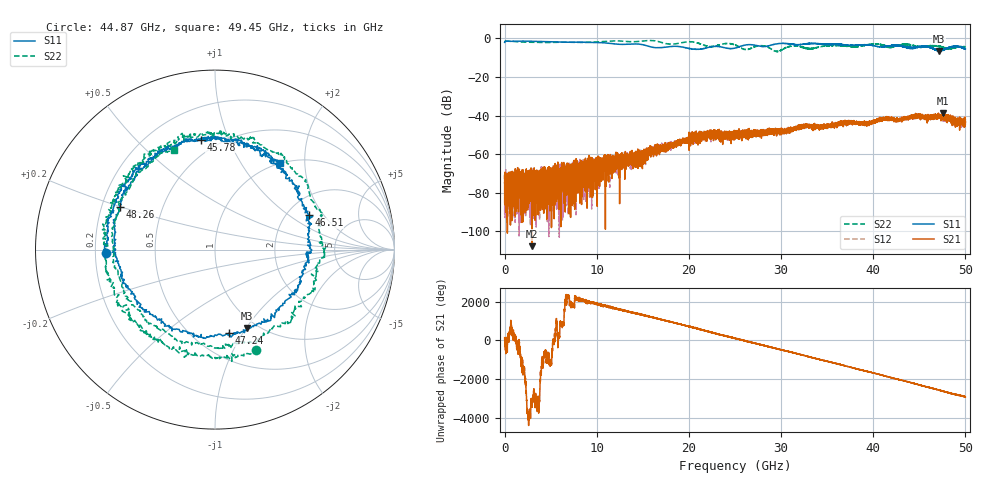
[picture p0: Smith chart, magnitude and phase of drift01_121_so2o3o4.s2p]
!Created with skrf (http://scikit-rf.org).
# Hz S RI R 50.0
!freq ReS11 ImS11 ReS21 ImS21 ReS12 ImS12 ReS22 ImS22
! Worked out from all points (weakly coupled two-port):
!   10001 points, 300 kHz to 50 GHz, reference 50 ohm
!   highest |S21| = -38.57 dB at 47.57 GHz (marker M1); lowest = -107.7 dB at 2.955 GHz (marker M2)
!   lowest |S11| = -6.5 dB at 47.15 GHz (marker M3), VSWR 2.78, Z = 44.8 - j50.3 ohm
!   |S11| at or under -10 dB: nowhere
!   |S22| runs from -6.8 to -1.0 dB; largest |S21 - S12| = 0.0038
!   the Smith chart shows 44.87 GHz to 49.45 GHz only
!   S11 on the Smith chart (normalised r, x): 44.87 GHz: 0.24, -0.01; 45.78 GHz: 0.40, +0.79; 46.51 GHz: 2.60, +1.45; 47.24 GHz: 0.73, -0.87; 48.26 GHz: 0.28, +0.20; 49.45 GHz: 0.99, +1.50
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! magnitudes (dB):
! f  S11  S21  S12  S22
! 300 kHz  -2.1  -71.5  -71.2  -1.3
! 445.3 MHz  -1.4  -74.9  -69.9  -1.4
! 2.955 GHz  -1.5  -107.7  -75.8  -2.0
! 4.725 GHz  -1.6  -77.3  -75.5  -2.1
! 8.335 GHz  -1.9  -76.7  -76.0  -2.1
! 16.67 GHz  -4.8  -56.6  -55.4  -1.6
! 21.84 GHz  -5.0  -49.0  -50.3  -3.7
! 25 GHz  -5.0  -48.5  -50.2  -3.4
! 28.09 GHz  -4.2  -47.3  -48.4  -3.8
! 29.54 GHz  -2.8  -47.4  -47.4  -6.7
! 31.27 GHz  -3.0  -47.9  -46.7  -4.0
! 33.34 GHz  -2.6  -45.0  -45.3  -5.3
! 41.67 GHz  -3.9  -41.2  -41.9  -4.6
! 44.87 GHz  -4.3  -40.2  -40.4  -4.4
! 45.78 GHz  -4.2  -40.7  -40.1  -4.0
! 46.51 GHz  -5.1  -42.0  -40.5  -3.8
! 47.15 GHz  -6.5  -40.3  -39.7  -4.0
! 47.24 GHz  -6.5  -39.7  -40.3  -4.3
! 47.57 GHz  -5.9  -38.6  -40.1  -4.8
! 48.26 GHz  -4.7  -41.9  -41.3  -5.1
! 49.45 GHz  -4.4  -43.1  -43.7  -4.4
! 50 GHz  -5.5  -43.2  -41.8  -4.2
